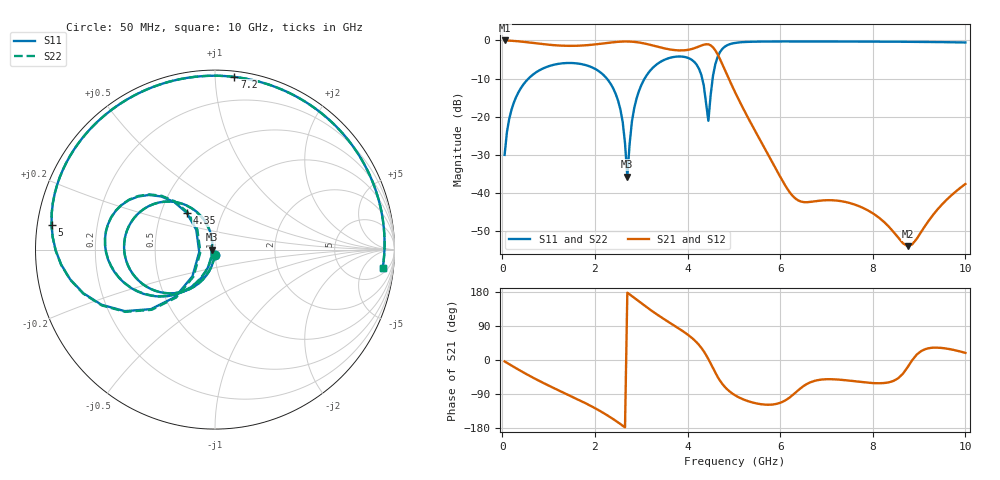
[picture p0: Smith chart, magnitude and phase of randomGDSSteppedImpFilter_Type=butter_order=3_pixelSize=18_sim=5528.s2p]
! freq	dB(S11)	phase(S11)	dB(S12)	phase(S12)
!  dB(S21)	phase(S21)	dB(S22)	phase(S22)
!S-par simulation data
#  GHz  S  DB  R 50
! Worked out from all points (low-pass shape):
!   200 points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, 50 MHz to 10 GHz, reference 50 ohm
!   highest |S21| = -0.01 dB at 50 MHz (marker M1); lowest = -53.8 dB at 8.75 GHz (marker M2)
!   |S21| within 3 dB of the highest: start of sweep to 4.619 GHz
!   lowest |S11| = -35.6 dB at 2.7 GHz (marker M3), VSWR 1.03, Z = 48.4 + j0.0491 ohm
!   |S11| at or under -10 dB: start of sweep to 564.7 MHz; 2.258 GHz to 3.074 GHz (815.4 MHz wide, 30.6 % of centre); 4.317 GHz to 4.542 GHz (225.6 MHz wide, 5.09 % of centre)
!   |S22| runs from -34.8 to -0.3 dB; largest |S21 - S12| = 0
!   S11 on the Smith chart (normalised r, x): 50 MHz: 0.99, -0.06; 4.35 GHz: 0.68, +0.30; 5 GHz: 0.04, +0.08; 7.2 GHz: 0.04, +1.12; 10 GHz: 8, -14
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0.05  -29.96 -93.8  -0.01 -3.7  -0.01 -3.7  -29.96 -93.8
0.2  -18.09 -105.1  -0.09 -14.7  -0.09 -14.7  -18.09 -105.1
0.5  -10.85 -126.3  -0.42 -35.8  -0.42 -35.8  -10.85 -126.3
1.75  -6.30 158.8  -1.32 -111.2  -1.32 -111.2  -6.30 158.8
2.45  -14.03 112.2  -0.41 -160.4  -0.41 -160.4  -14.03 112.6
2.6  -21.35 104.6  -0.29 -173.3  -0.29 -173.3  -21.32 105.7
2.7  -35.62 178.2  -0.28 177.7  -0.28 177.7  -34.84 177.4
2.8  -21.16 -110.9  -0.33 168.5  -0.33 168.5  -21.14 -112.2
2.9  -15.17 -115.7  -0.45 159.2  -0.45 159.2  -15.16 -116.5
3.4  -5.72 -156.0  -1.79 115.3  -1.79 115.3  -5.72 -156.3
3.9  -4.26 166.7  -2.61 76.0  -2.61 76.0  -4.26 166.3
4.35  -11.75 127.5  -1.13 23.1  -1.13 23.1  -11.80 126.3
4.45  -21.03 -171.2  -1.03 2.3  -1.03 2.3  -21.68 -170.5
4.65  -4.31 -145.7  -3.66 -44.6  -3.66 -44.6  -4.32 -145.2
5  -0.71 171.3  -12.87 -91.0  -12.87 -91.0  -0.71 171.5
5.05  -0.61 167.5  -14.14 -94.8  -14.14 -94.8  -0.61 167.6
6.2  -0.27 116.0  -39.63 -99.4  -39.63 -99.4  -0.27 116.0
6.7  -0.27 99.5  -42.19 -56.8  -42.19 -56.8  -0.27 99.5
7.2  -0.28 83.6  -41.88 -51.2  -41.88 -51.2  -0.28 83.6
8.35  -0.33 47.4  -48.79 -58.8  -48.79 -58.8  -0.33 47.4
8.75  -0.36 34.7  -53.85 -19.4  -53.85 -19.4  -0.36 34.7
10  -0.54 -6.3  -37.57 18.8  -37.57 18.8  -0.54 -6.3
